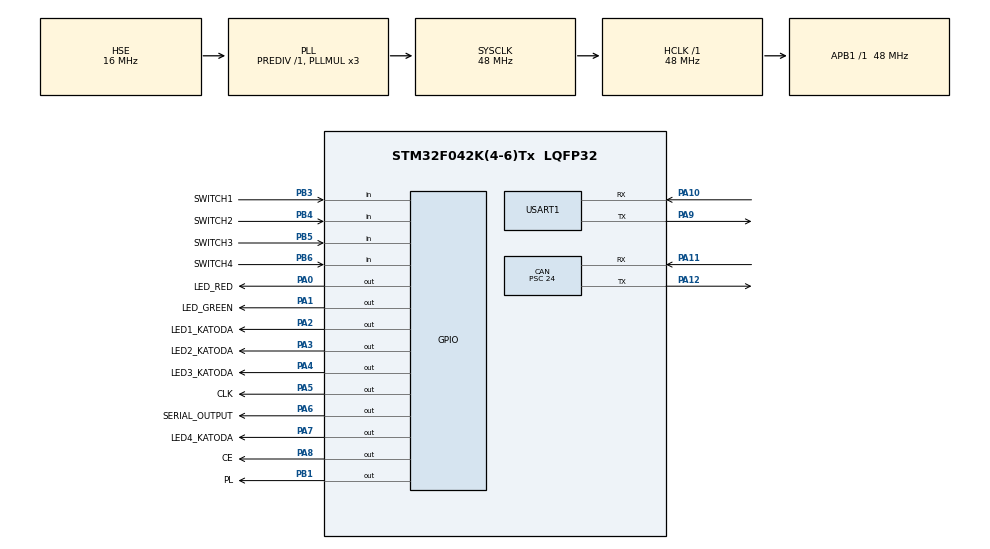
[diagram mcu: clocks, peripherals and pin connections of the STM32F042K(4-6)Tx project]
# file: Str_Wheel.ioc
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CAN.BS1=CAN_BS1_13TQ
CAN.BS2=CAN_BS2_2TQ
CAN.CalculateTimeQuantum=500.0
CAN.Prescaler=24
Mcu.Family=STM32F0
Mcu.Name=STM32F042K(4-6)Tx
Mcu.Package=LQFP32
NVIC.TIM1_BRK_UP_TRG_COM_IRQn=true\:0\:0\:false\:false\:true\:true\:true
PA0.GPIO_Label=LED_RED
PA0.Signal=GPIO_Output
PA1.GPIO_Label=LED_GREEN
PA1.Signal=GPIO_Output
PA10.Mode=Asynchronous
PA10.Signal=USART1_RX
PA11.Mode=Master
PA11.Signal=CAN_RX
PA12.Mode=Master
PA12.Signal=CAN_TX
PA13.Mode=Serial_Wire
PA13.Signal=SYS_SWDIO
PA14.Mode=Serial_Wire
PA14.Signal=SYS_SWCLK
PA2.GPIO_Label=LED1_KATODA
PA2.Signal=GPIO_Output
PA3.GPIO_Label=LED2_KATODA
PA3.Signal=GPIO_Output
PA4.GPIO_Label=LED3_KATODA
PA4.Signal=GPIO_Output
PA5.GPIO_Label=CLK
PA5.Signal=GPIO_Output
PA6.GPIO_Label=SERIAL_OUTPUT
PA6.Signal=GPIO_Output
PA7.GPIO_Label=LED4_KATODA
PA7.Signal=GPIO_Output
PA8.GPIO_Label=CE
PA8.Signal=GPIO_Output
PA9.Mode=Asynchronous
PA9.Signal=USART1_TX
PB1.GPIO_Label=PL
PB1.Signal=GPIO_Output
PB3.GPIO_Label=SWITCH1
PB3.Signal=GPIO_Input
PB4.GPIO_Label=SWITCH2
PB4.Signal=GPIO_Input
PB5.GPIO_Label=SWITCH3
PB5.Signal=GPIO_Input
PB6.GPIO_Label=SWITCH4
PB6.Signal=GPIO_Input
PF0-OSC_IN.Mode=HSE-External-Oscillator
PF0-OSC_IN.Signal=RCC_OSC_IN
PF1-OSC_OUT.Mode=HSE-External-Oscillator
PF1-OSC_OUT.Signal=RCC_OSC_OUT
ProjectManager.HeapSize=0x200
ProjectManager.StackSize=0x400
ProjectManager.TargetToolchain=STM32CubeIDE
RCC.AHBFreq_Value=48000000
RCC.APB1Freq_Value=48000000
RCC.APB1TimFreq_Value=48000000
RCC.HCLKFreq_Value=48000000
RCC.HSE_VALUE=16000000
RCC.PLLMUL=RCC_PLL_MUL3
RCC.PLLSourceVirtual=RCC_PLLSOURCE_HSE
RCC.SYSCLKFreq_VALUE=48000000
RCC.SYSCLKSource=RCC_SYSCLKSOURCE_PLLCLK
TIM1.Period=4999
TIM1.Prescaler=9999
USART1.VirtualMode-Asynchronous=VM_ASYNC
VP_TIM1_VS_ClockSourceINT.Mode=Internal
VP_TIM1_VS_ClockSourceITR.Mode=TriggerSource_ITR1
board=custom

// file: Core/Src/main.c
/* USER CODE BEGIN Header */
/**
  ******************************************************************************
  * @file           : main.c
  * @brief          : Main program body
  ******************************************************************************
  * @attention
  *
  * <h2><center>&copy; Copyright (c) 2020 STMicroelectronics.
  * All rights reserved.</center></h2>
  *
  * This software component is licensed by ST under BSD 3-Clause license,
  * the "License"; You may not use this file except in compliance with the
  * License. You may obtain a copy of the License at:
  *                        opensource.org/licenses/BSD-3-Clause
  *
  ******************************************************************************
  */
/* USER CODE END Header */
#include "main.h"

CAN_HandleTypeDef hcan;

TIM_HandleTypeDef htim1;

UART_HandleTypeDef huart1;

/* USER CODE BEGIN PV */

CAN_FilterTypeDef  sFilterConfig;
CAN_TxHeaderTypeDef   TxHeader;
CAN_RxHeaderTypeDef   RxHeader;
uint8_t               TxData[8];
uint8_t               RxData[8];
uint32_t              TxMailbox;

/* USER CODE END PV */

void SystemClock_Config(void);
static void MX_GPIO_Init(void);
static void MX_CAN_Init(void);
static void MX_USART1_UART_Init(void);
static void MX_TIM1_Init(void);

void HAL_TIM_PeriodElapsedCallback(TIM_HandleTypeDef *htim1) {

	// Przerwanie wywolywane z czestotliwoscia 5Hz

	static uint8_t state = 1;

	switch (state) {

	case 1:
	case 5:
		if(HAL_GPIO_ReadPin(SWITCH1_GPIO_Port, SWITCH1_Pin)==GPIO_PIN_RESET){
			  	    HAL_GPIO_WritePin(LED1_KATODA_GPIO_Port, LED1_KATODA_Pin,GPIO_PIN_SET);
			  	    HAL_GPIO_WritePin(LED_RED_GPIO_Port, LED_RED_Pin,GPIO_PIN_SET);
		}
		else{
			        HAL_GPIO_WritePin(LED1_KATODA_GPIO_Port, LED1_KATODA_Pin,GPIO_PIN_RESET);
		            HAL_GPIO_WritePin(LED_RED_GPIO_Port, LED_RED_Pin,GPIO_PIN_RESET);
		}
		break;

	case 2:
	case 6:
		if(HAL_GPIO_ReadPin(SWITCH2_GPIO_Port, SWITCH2_Pin)==GPIO_PIN_RESET){
					  	    HAL_GPIO_WritePin(LED1_KATODA_GPIO_Port, LED1_KATODA_Pin,GPIO_PIN_RESET);
					  	    HAL_GPIO_WritePin(LED_RED_GPIO_Port, LED_RED_Pin,GPIO_PIN_RESET);
					  	    HAL_GPIO_WritePin(LED2_KATODA_GPIO_Port, LED2_KATODA_Pin,GPIO_PIN_SET);
					  	    HAL_GPIO_WritePin(LED_GREEN_GPIO_Port, LED_GREEN_Pin,GPIO_PIN_SET);
				}
				else{
					        HAL_GPIO_WritePin(LED2_KATODA_GPIO_Port, LED2_KATODA_Pin,GPIO_PIN_RESET);
						    HAL_GPIO_WritePin(LED_GREEN_GPIO_Port, LED_GREEN_Pin,GPIO_PIN_RESET);
				}
		break;

	case 3:
	case 7:
		if(HAL_GPIO_ReadPin(SWITCH3_GPIO_Port, SWITCH3_Pin)==GPIO_PIN_RESET){
							  	    HAL_GPIO_WritePin(LED2_KATODA_GPIO_Port, LED2_KATODA_Pin,GPIO_PIN_RESET);
							  	    HAL_GPIO_WritePin(LED3_KATODA_GPIO_Port, LED3_KATODA_Pin,GPIO_PIN_SET);
							  	    HAL_GPIO_WritePin(LED_RED_GPIO_Port, LED_RED_Pin,GPIO_PIN_SET);
						}
						else{
							        HAL_GPIO_WritePin(LED3_KATODA_GPIO_Port, LED3_KATODA_Pin,GPIO_PIN_RESET);
								    HAL_GPIO_WritePin(LED_GREEN_GPIO_Port, LED_GREEN_Pin,GPIO_PIN_RESET);
								    HAL_GPIO_WritePin(LED_RED_GPIO_Port, LED_RED_Pin,GPIO_PIN_RESET);
						}
		break;

	case 4:
	case 8:
		if(HAL_GPIO_ReadPin(SWITCH4_GPIO_Port, SWITCH4_Pin)==GPIO_PIN_RESET){
									  	    HAL_GPIO_WritePin(LED3_KATODA_GPIO_Port, LED3_KATODA_Pin,GPIO_PIN_RESET);
									  	    HAL_GPIO_WritePin(LED4_KATODA_GPIO_Port, LED4_KATODA_Pin,GPIO_PIN_SET);
									  	    HAL_GPIO_WritePin(LED_RED_GPIO_Port, LED_RED_Pin,GPIO_PIN_SET);
								}
								else{
									        HAL_GPIO_WritePin(LED4_KATODA_GPIO_Port, LED4_KATODA_Pin,GPIO_PIN_RESET);
										    HAL_GPIO_WritePin(LED_GREEN_GPIO_Port, LED_GREEN_Pin,GPIO_PIN_RESET);
										    HAL_GPIO_WritePin(LED_RED_GPIO_Port, LED_RED_Pin,GPIO_PIN_RESET);
								}
		break;

	case 18:
		state = 0;
		break;

	default:
		break;
	}
	++state;
}

//
//	  set_rg (255,0);   // red only
//	  	  HAL_Delay (1000);
//
//	  	  set_rg (0,255);   // green only
//	  	  HAL_Delay (1000);
//
//	  	  set_rg (255,255);
//	  	  HAL_Delay(1000);
//
//	  	  set_rg (192,192);
//	  	  HAL_Delay (1000);
//

/* USER CODE BEGIN 0 */

//set valuse to the LED
//void set_rg (uint8_t red, uint8_t green)
//{
//	htim1.Instance->CCR1 = red;
//	htim1.Instance->CCR2 = green;
//
//}

/* USER CODE END 0 */

int main(void)
{

  /* MCU Configuration--------------------------------------------------------*/

  /* Reset of all peripherals, Initializes the Flash interface and the Systick. */
  HAL_Init();

  /* Configure the system clock */
  SystemClock_Config();

  /* Initialize all configured peripherals */
  MX_GPIO_Init();
  MX_CAN_Init();
  MX_USART1_UART_Init();
  MX_TIM1_Init();
  /* USER CODE BEGIN 2 */

  /* Ustawienia filtracji ramek*/
  sFilterConfig.FilterBank = 0;
    sFilterConfig.FilterMode = CAN_FILTERMODE_IDMASK;
    sFilterConfig.FilterScale = CAN_FILTERSCALE_32BIT;
    sFilterConfig.FilterIdHigh = 0x0000;
    sFilterConfig.FilterIdLow = 0x0000;
    sFilterConfig.FilterMaskIdHigh = 0x0000;
    sFilterConfig.FilterMaskIdLow = 0x0000;
    sFilterConfig.FilterFIFOAssignment = CAN_RX_FIFO0;
    sFilterConfig.FilterActivation = ENABLE;
    sFilterConfig.SlaveStartFilterBank = 14;

    if (HAL_CAN_ConfigFilter(&hcan, &sFilterConfig) != HAL_OK)
    {
      /* Filter configuration Error */
      Error_Handler();
    }

    if (HAL_CAN_Start(&hcan) != HAL_OK)
     {
       /* Start Error */
       Error_Handler();
     }

    if (HAL_CAN_ActivateNotification(&hcan, CAN_IT_RX_FIFO0_MSG_PENDING | CAN_IT_TX_MAILBOX_EMPTY) != HAL_OK)
      {
        /* Notification Error */
        Error_Handler();
      }

    TxHeader.StdId = 0x321;
     TxHeader.ExtId = 0x01;
     TxHeader.RTR = CAN_RTR_DATA;
     TxHeader.IDE = CAN_ID_STD;
     TxHeader.DLC = 8;
     TxHeader.TransmitGlobalTime = DISABLE;
     TxData[0] = 1;
     TxData[1] = 2;
     TxData[2] = 3;
     TxData[3] = 4;
     TxData[4] = 5;
     TxData[5] = 6;
     TxData[6] = 7;
     TxData[7] = 8;

  /* USER CODE END 2 */

  /* Infinite loop */
  while (1)
  {

    /* USER CODE BEGIN 3 */

	  HAL_CAN_AddTxMessage(&hcan, &TxHeader, TxData, &TxMailbox);
	        HAL_Delay(500);
	        TxData[7] = TxData[7] + 1;

  }
  /* USER CODE END 3 */
}

void SystemClock_Config(void)
{
  RCC_OscInitTypeDef RCC_OscInitStruct = {0};
  RCC_ClkInitTypeDef RCC_ClkInitStruct = {0};
  RCC_PeriphCLKInitTypeDef PeriphClkInit = {0};

  /** Initializes the RCC Oscillators according to the specified parameters
  * in the RCC_OscInitTypeDef structure.
  */
  RCC_OscInitStruct.OscillatorType = RCC_OSCILLATORTYPE_HSE;
  RCC_OscInitStruct.HSEState = RCC_HSE_ON;
  RCC_OscInitStruct.PLL.PLLState = RCC_PLL_ON;
  RCC_OscInitStruct.PLL.PLLSource = RCC_PLLSOURCE_HSE;
  RCC_OscInitStruct.PLL.PLLMUL = RCC_PLL_MUL3;
  RCC_OscInitStruct.PLL.PREDIV = RCC_PREDIV_DIV1;
  if (HAL_RCC_OscConfig(&RCC_OscInitStruct) != HAL_OK)
  {
    Error_Handler();
  }
  /** Initializes the CPU, AHB and APB buses clocks
  */
  RCC_ClkInitStruct.ClockType = RCC_CLOCKTYPE_HCLK|RCC_CLOCKTYPE_SYSCLK
                              |RCC_CLOCKTYPE_PCLK1;
  RCC_ClkInitStruct.SYSCLKSource = RCC_SYSCLKSOURCE_PLLCLK;
  RCC_ClkInitStruct.AHBCLKDivider = RCC_SYSCLK_DIV1;
  RCC_ClkInitStruct.APB1CLKDivider = RCC_HCLK_DIV1;

  if (HAL_RCC_ClockConfig(&RCC_ClkInitStruct, FLASH_LATENCY_1) != HAL_OK)
  {
    Error_Handler();
  }
  PeriphClkInit.PeriphClockSelection = RCC_PERIPHCLK_USART1;
  PeriphClkInit.Usart1ClockSelection = RCC_USART1CLKSOURCE_PCLK1;
  if (HAL_RCCEx_PeriphCLKConfig(&PeriphClkInit) != HAL_OK)
  {
    Error_Handler();
  }
}

static void MX_CAN_Init(void)
{

  hcan.Instance = CAN;
  hcan.Init.Prescaler = 24;
  hcan.Init.Mode = CAN_MODE_NORMAL;
  hcan.Init.SyncJumpWidth = CAN_SJW_1TQ;
  hcan.Init.TimeSeg1 = CAN_BS1_13TQ;
  hcan.Init.TimeSeg2 = CAN_BS2_2TQ;
  hcan.Init.TimeTriggeredMode = DISABLE;
  hcan.Init.AutoBusOff = DISABLE;
  hcan.Init.AutoWakeUp = DISABLE;
  hcan.Init.AutoRetransmission = DISABLE;
  hcan.Init.ReceiveFifoLocked = DISABLE;
  hcan.Init.TransmitFifoPriority = DISABLE;
  if (HAL_CAN_Init(&hcan) != HAL_OK)
  {
    Error_Handler();
  }

}

static void MX_TIM1_Init(void)
{

  TIM_ClockConfigTypeDef sClockSourceConfig = {0};
  TIM_SlaveConfigTypeDef sSlaveConfig = {0};
  TIM_MasterConfigTypeDef sMasterConfig = {0};

  htim1.Instance = TIM1;
  htim1.Init.Prescaler = 9999;
  htim1.Init.CounterMode = TIM_COUNTERMODE_UP;
  htim1.Init.Period = 4999;
  htim1.Init.ClockDivision = TIM_CLOCKDIVISION_DIV1;
  htim1.Init.RepetitionCounter = 0;
  htim1.Init.AutoReloadPreload = TIM_AUTORELOAD_PRELOAD_DISABLE;
  if (HAL_TIM_Base_Init(&htim1) != HAL_OK)
  {
    Error_Handler();
  }
  sClockSourceConfig.ClockSource = TIM_CLOCKSOURCE_INTERNAL;
  if (HAL_TIM_ConfigClockSource(&htim1, &sClockSourceConfig) != HAL_OK)
  {
    Error_Handler();
  }
  sSlaveConfig.SlaveMode = TIM_SLAVEMODE_DISABLE;
  sSlaveConfig.InputTrigger = TIM_TS_ITR1;
  if (HAL_TIM_SlaveConfigSynchro(&htim1, &sSlaveConfig) != HAL_OK)
  {
    Error_Handler();
  }
  sMasterConfig.MasterOutputTrigger = TIM_TRGO_RESET;
  sMasterConfig.MasterSlaveMode = TIM_MASTERSLAVEMODE_DISABLE;
  if (HAL_TIMEx_MasterConfigSynchronization(&htim1, &sMasterConfig) != HAL_OK)
  {
    Error_Handler();
  }

}

static void MX_USART1_UART_Init(void)
{

  huart1.Instance = USART1;
  huart1.Init.BaudRate = 38400;
  huart1.Init.WordLength = UART_WORDLENGTH_8B;
  huart1.Init.StopBits = UART_STOPBITS_1;
  huart1.Init.Parity = UART_PARITY_NONE;
  huart1.Init.Mode = UART_MODE_TX_RX;
  huart1.Init.HwFlowCtl = UART_HWCONTROL_NONE;
  huart1.Init.OverSampling = UART_OVERSAMPLING_16;
  huart1.Init.OneBitSampling = UART_ONE_BIT_SAMPLE_DISABLE;
  huart1.AdvancedInit.AdvFeatureInit = UART_ADVFEATURE_NO_INIT;
  if (HAL_UART_Init(&huart1) != HAL_OK)
  {
    Error_Handler();
  }

}

static void MX_GPIO_Init(void)
{
  GPIO_InitTypeDef GPIO_InitStruct = {0};

  /* GPIO Ports Clock Enable */
  __HAL_RCC_GPIOF_CLK_ENABLE();
  __HAL_RCC_GPIOA_CLK_ENABLE();
  __HAL_RCC_GPIOB_CLK_ENABLE();

  /*Configure GPIO pin Output Level */
  HAL_GPIO_WritePin(GPIOA, LED_RED_Pin|LED_GREEN_Pin|LED1_KATODA_Pin|LED2_KATODA_Pin
                          |LED3_KATODA_Pin|CLK_Pin|SERIAL_OUTPUT_Pin|LED4_KATODA_Pin
                          |CE_Pin, GPIO_PIN_RESET);

  /*Configure GPIO pin Output Level */
  HAL_GPIO_WritePin(PL_GPIO_Port, PL_Pin, GPIO_PIN_RESET);

  /*Configure GPIO pins : LED_RED_Pin LED_GREEN_Pin LED1_KATODA_Pin LED2_KATODA_Pin
                           LED3_KATODA_Pin CLK_Pin SERIAL_OUTPUT_Pin LED4_KATODA_Pin
                           CE_Pin */
  GPIO_InitStruct.Pin = LED_RED_Pin|LED_GREEN_Pin|LED1_KATODA_Pin|LED2_KATODA_Pin
                          |LED3_KATODA_Pin|CLK_Pin|SERIAL_OUTPUT_Pin|LED4_KATODA_Pin
                          |CE_Pin;
  GPIO_InitStruct.Mode = GPIO_MODE_OUTPUT_PP;
  GPIO_InitStruct.Pull = GPIO_NOPULL;
  GPIO_InitStruct.Speed = GPIO_SPEED_FREQ_LOW;
  HAL_GPIO_Init(GPIOA, &GPIO_InitStruct);

  /*Configure GPIO pin : PL_Pin */
  GPIO_InitStruct.Pin = PL_Pin;
  GPIO_InitStruct.Mode = GPIO_MODE_OUTPUT_PP;
  GPIO_InitStruct.Pull = GPIO_NOPULL;
  GPIO_InitStruct.Speed = GPIO_SPEED_FREQ_LOW;
  HAL_GPIO_Init(PL_GPIO_Port, &GPIO_InitStruct);

  /*Configure GPIO pins : SWITCH1_Pin SWITCH2_Pin SWITCH3_Pin SWITCH4_Pin */
  GPIO_InitStruct.Pin = SWITCH1_Pin|SWITCH2_Pin|SWITCH3_Pin|SWITCH4_Pin;
  GPIO_InitStruct.Mode = GPIO_MODE_INPUT;
  GPIO_InitStruct.Pull = GPIO_NOPULL;
  HAL_GPIO_Init(GPIOB, &GPIO_InitStruct);

}

/* USER CODE BEGIN 4 */

void HAL_CAN_TxMailbox0CompleteCallback(CAN_HandleTypeDef *hcan)
{
    HAL_GPIO_TogglePin(GPIOB, GPIO_PIN_2);
}

void HAL_CAN_RxFifo0MsgPendingCallback(CAN_HandleTypeDef *hcan)
{
    HAL_CAN_GetRxMessage(&hcan, CAN_RX_FIFO0, &RxHeader, RxData);
    HAL_GPIO_TogglePin(GPIOB, GPIO_PIN_2);
}

/* USER CODE END 4 */

void Error_Handler(void)
{
}

/************************ (C) COPYRIGHT STMicroelectronics *****END OF FILE****/
